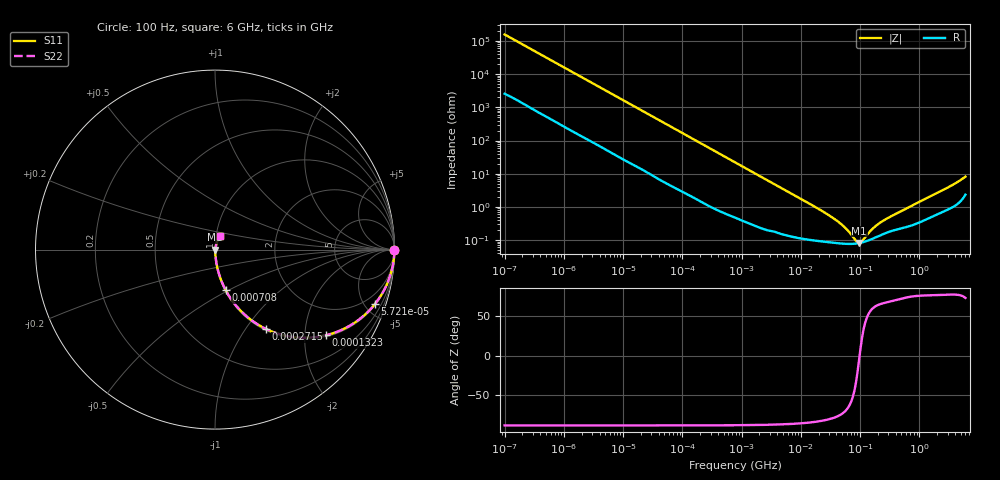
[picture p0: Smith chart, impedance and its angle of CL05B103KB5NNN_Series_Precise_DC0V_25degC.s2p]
! CL05B103KB5NNN Multilayer Ceramic Capacitor Sparameter Model
! Model Generated by Samsung Electro-Mechanics
! Samsung Sparameter Version 5.0
! Date : Oct-21-2025
! Products : Multilayer Ceramic Capacitor(General)
! Characteristics :
!  Nominal Capacitance = 10nF
!  Capacitance Tolerance = +/-10%
!  TCC = X7R(-55 ~ +125 degC.)
!  Rated Voltage = 50Vdc
!  Size = 0402(unit:inch), 1005(unit:mm)
!  Length = 1.00+/-0.05mm
!  Width = 0.50+/-0.05mm
!  Thickness = 0.50+/-0.05mm
!  Reliability level = Standard
!  Lineup = Lineup Normal
!  Feature = Features Normal
!  Measurement Temperature : 25degC.
!  DC bias Value = 0V
!  Frequency : 100Hz ~ 6GHz
! External Node Assignments :
!  1  o---||---o  2
# MHz S RI R 50.0
! Freq.  Real(S11)  Im(S11)  Real(S12)  Im(S12)  Real(S21)  Im(S21)  Real(S22)  Im(S22)
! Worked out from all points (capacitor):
!   300 points, 100 Hz to 6 GHz, reference 50 ohm
!   read as one part in series: C = 10.1 nF near 106.2 Hz
!   lowest |Z| = 81.8 mohm at 96.2 MHz (marker M1)
!   series resonance near 98.35 MHz, so ESL is about 260 pH
!   S11 on the Smith chart (normalised r, x): 100 Hz: open; 57.21 kHz: 1.10, -5.86; 132.3 kHz: 1.04, -2.55; 271.5 kHz: 1.02, -1.25; 708 kHz: 1.01, -0.49; 6 GHz: 1.05, +0.16
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0.0001  1 -0.000638  1.09e-05 0.000638  1.09e-05 0.000638  1 -0.000638
0.001998454  0.9996 -0.0123  0.000356 0.0123  0.000356 0.0123  0.9996 -0.0123
0.01205343  0.9935 -0.0725  0.00651 0.0725  0.00651 0.0725  0.9935 -0.0725
0.03993819  0.9426 -0.2245  0.0574 0.2245  0.0574 0.2245  0.9426 -0.2245
0.05720996  0.8917 -0.3027  0.1083 0.3027  0.1083 0.3027  0.8917 -0.3027
0.08700994  0.7851 -0.4024  0.2149 0.4024  0.2149 0.4024  0.7851 -0.4024
0.1323324  0.6181 -0.4772  0.3819 0.4772  0.3819 0.4772  0.6181 -0.4772
0.2715393  0.2858 -0.4431  0.7142 0.4431  0.7142 0.4431  0.2858 -0.4431
0.4384739  0.1367 -0.3344  0.8633 0.3344  0.8633 0.3344  0.1367 -0.3344
0.7080351  0.0599 -0.2271  0.9401 0.2271  0.9401 0.2271  0.0599 -0.2271
0.7981464  0.0485 -0.2043  0.9515 0.2043  0.9515 0.2043  0.0485 -0.2043
2.644602  0.00631 -0.0654  0.9937 0.0654  0.9937 0.0654  0.00631 -0.0654
15.95059  0.0011 -0.0109  0.9989 0.0109  0.9989 0.0109  0.0011 -0.0109
46.88422  0.0008 -0.00304  0.9992 0.00304  0.9992 0.00304  0.0008 -0.00304
63.25518  0.00077 -0.00172  0.9992 0.00172  0.9992 0.00172  0.00077 -0.00172
85.34253  0.000787 -0.000537  0.9992 0.000537  0.9992 0.000537  0.000787 -0.000537
96.20403  0.000813 -8.15e-05  0.9992 8.15e-05  0.9992 8.15e-05  0.000813 -8.15e-05
108.4479  0.000853 0.000369  0.9991 -0.000369  0.9991 -0.000369  0.000853 0.000369
175.1185  0.00117 0.00218  0.9988 -0.00218  0.9988 -0.00218  0.00117 0.00218
318.7652  0.00183 0.00463  0.9982 -0.00463  0.9982 -0.00463  0.00183 0.00463
3104.549  0.00981 0.0377  0.9902 -0.0377  0.9902 -0.0377  0.00981 0.0377
6000  0.0284 0.0742  0.9716 -0.0742  0.9716 -0.0742  0.0284 0.0742
